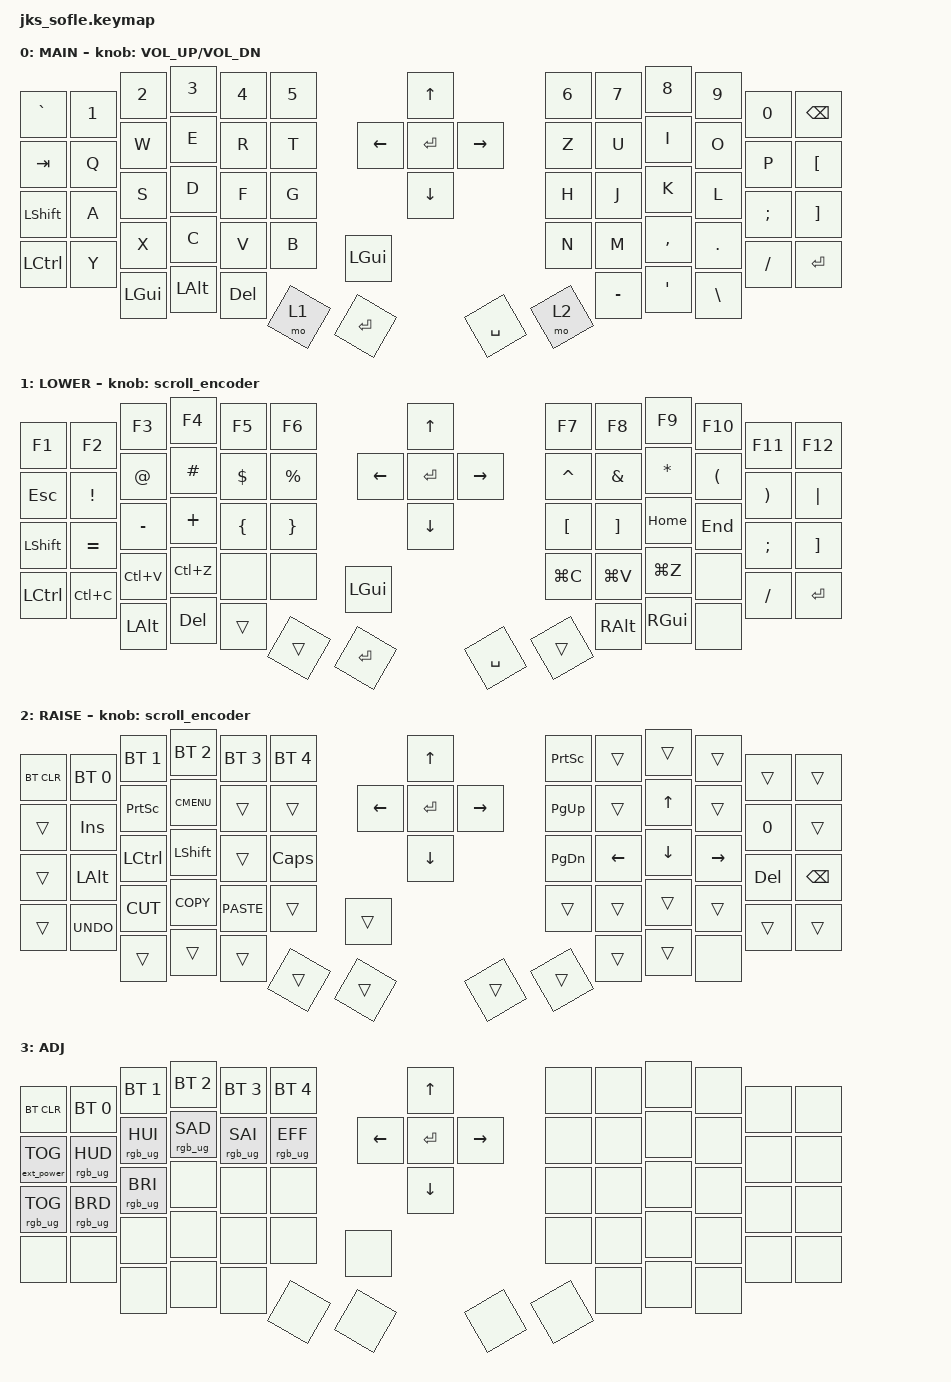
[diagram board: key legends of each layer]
/*
 * Copyright (c) 2020 The ZMK Contributors
 *
 * SPDX-License-Identifier: MIT
 */

#include <input/processors.dtsi>
#include <zephyr/dt-bindings/input/input-event-codes.h>
#include <dt-bindings/zmk/mouse.h>
#include <behaviors.dtsi>
#include <dt-bindings/zmk/bt.h>
#include <dt-bindings/zmk/ext_power.h>
#include <dt-bindings/zmk/keys.h>
#include <dt-bindings/zmk/pointing.h>
#include <dt-bindings/zmk/rgb.h>

#define BASE 0
#define LOWER 1
#define RAISE 2
#define ADJUST 3
#define ZMK_MOUSE_DEFAULT_MOVE_VAL 1200  // 600
#define ZMK_MOUSE_DEFAULT_SCRL_VAL 20    // 10

&mmv_input_listener { input-processors = <&zip_xy_scaler 2 1>; };

&msc_input_listener { input-processors = <&zip_scroll_scaler 2 1>; };

&msc {
    acceleration-exponent = <1>;      // 0
    time-to-max-speed-ms = <100>;     // 300
    delay-ms = <0>;                   // 0
};

&mmv {
    time-to-max-speed-ms = <500>;
    acceleration-exponent = <1>;
    trigger-period-ms = <16>;
};

/ {
    // Activate ADJUST layer by pressing raise and lower

    conditional_layers {
        compatible = "zmk,conditional-layers";

        adjust_layer {
            if-layers = <LOWER RAISE>;
            then-layer = <ADJUST>;
        };
    };

    behaviors {
        mmv {
            acceleration-exponent = <1>;      // 1
            time-to-max-speed-ms = <900>;     // 40
            delay-ms = <0>;                   // 0
        };

        msc {
            acceleration-exponent = <1>;      // 0
            time-to-max-speed-ms = <400>;     // 500
            delay-ms = <0>;                   // 10
        };
    };

    scroll_encoder: scroll_encoder {
        compatible = "zmk,behavior-sensor-rotate";
        #sensor-binding-cells = <0>;
        bindings = <&msc SCRL_DOWN>, <&msc SCRL_UP>;

        tap-ms = <30>;
    };

    keymap {
        compatible = "zmk,keymap";

        default_layer {
            display-name = "MAIN";
            bindings = <
&kp GRAVE  &kp N1    &kp N2    &kp N3   &kp N4  &kp N5       &kp UP_ARROW     &kp N6     &kp N7  &kp N8     &kp N9            &kp N0         &kp BSPC
&kp TAB    &kp Q     &kp W     &kp E    &kp R   &kp T        &kp DOWN_ARROW   &kp Z      &kp U   &kp I      &kp O             &kp P          &kp LBKT
&kp LSHFT  &kp A     &kp S     &kp D    &kp F   &kp G        &kp LEFT_ARROW   &kp H      &kp J   &kp K      &kp L             &kp SEMI       &kp RBKT
&kp LCTRL  &kp Y     &kp X     &kp C    &kp V   &kp B        &kp RIGHT_ARROW  &kp N      &kp M   &kp COMMA  &kp DOT           &kp FSLH       &kp ENTER
&kp LGUI   &kp LGUI  &kp LALT  &kp DEL  &mo 1   &kp ENTER    &kp ENTER        &kp SPACE  &mo 2   &kp MINUS  &kp SINGLE_QUOTE  &kp BACKSLASH
            >;

            sensor-bindings = <&inc_dec_kp C_VOLUME_UP C_VOL_DN>;
        };

        lower_layer {
            display-name = "LOWER";
            bindings = <
&kp F1     &kp F2     &kp F3     &kp F4     &kp F5    &kp F6       &kp UP_ARROW     &kp F7     &kp F8     &kp F9     &kp F10   &kp F11   &kp F12
&kp ESC    &kp EXCL   &kp AT     &kp HASH   &kp DLLR  &kp PRCNT    &kp DOWN_ARROW   &kp CARET  &kp AMPS   &kp ASTRK  &kp LPAR  &kp RPAR  &kp PIPE
&kp LSHFT  &kp EQUAL  &kp MINUS  &kp PLUS   &kp LBRC  &kp RBRC     &kp LEFT_ARROW   &kp LBKT   &kp RBKT   &kp HOME   &kp END   &kp SEMI  &kp RBKT
&kp LCTRL  &kp LC(C)  &kp LC(V)  &kp LC(Z)  &none     &none        &kp RIGHT_ARROW  &kp LG(C)  &kp LG(V)  &kp LG(Z)  &none     &kp FSLH  &kp ENTER
&kp LGUI   &kp LALT   &kp DEL    &trans     &trans    &kp ENTER    &kp ENTER        &kp SPACE  &trans     &kp RALT   &kp RGUI  &none
            >;

            sensor-bindings = <&scroll_encoder>;
        };

        raise_layer {
            display-name = "RAISE";
            bindings = <
&bt BT_CLR  &bt BT_SEL 0  &bt BT_SEL 1  &bt BT_SEL 2  &bt BT_SEL 3  &bt BT_SEL 4    &kp UP_ARROW     &kp PRINTSCREEN  &trans    &trans    &trans     &trans   &trans
&trans      &kp INS       &kp PSCRN     &kp K_CMENU   &trans        &trans          &kp DOWN_ARROW   &kp PG_UP        &trans    &kp UP    &trans     &kp N0   &trans
&trans      &kp LALT      &kp LCTRL     &kp LSHFT     &trans        &kp CLCK        &kp LEFT_ARROW   &kp PG_DN        &kp LEFT  &kp DOWN  &kp RIGHT  &kp DEL  &kp BSPC
&trans      &kp K_UNDO    &kp K_CUT     &kp K_COPY    &kp K_PASTE   &trans          &kp RIGHT_ARROW  &trans           &trans    &trans    &trans     &trans   &trans
&trans      &trans        &trans        &trans        &trans        &trans          &kp ENTER        &trans           &trans    &trans    &trans     &none
            >;

            sensor-bindings = <&scroll_encoder>;
        };

        adjust_layer {
            display-name = "ADJ";
            bindings = <
&bt BT_CLR         &bt BT_SEL 0     &bt BT_SEL 1     &bt BT_SEL 2     &bt BT_SEL 3     &bt BT_SEL 4       &kp UP_ARROW     &none  &none  &none  &none  &none  &none
&ext_power EP_TOG  &rgb_ug RGB_HUD  &rgb_ug RGB_HUI  &rgb_ug RGB_SAD  &rgb_ug RGB_SAI  &rgb_ug RGB_EFF    &kp DOWN_ARROW   &none  &none  &none  &none  &none  &none
&rgb_ug RGB_TOG    &rgb_ug RGB_BRD  &rgb_ug RGB_BRI  &none            &none            &none              &kp LEFT_ARROW   &none  &none  &none  &none  &none  &none
&none              &none            &none            &none            &none            &none              &kp RIGHT_ARROW  &none  &none  &none  &none  &none  &none
&none              &none            &none            &none            &none            &none              &kp ENTER        &none  &none  &none  &none  &none
            >;
        };
    };
};
